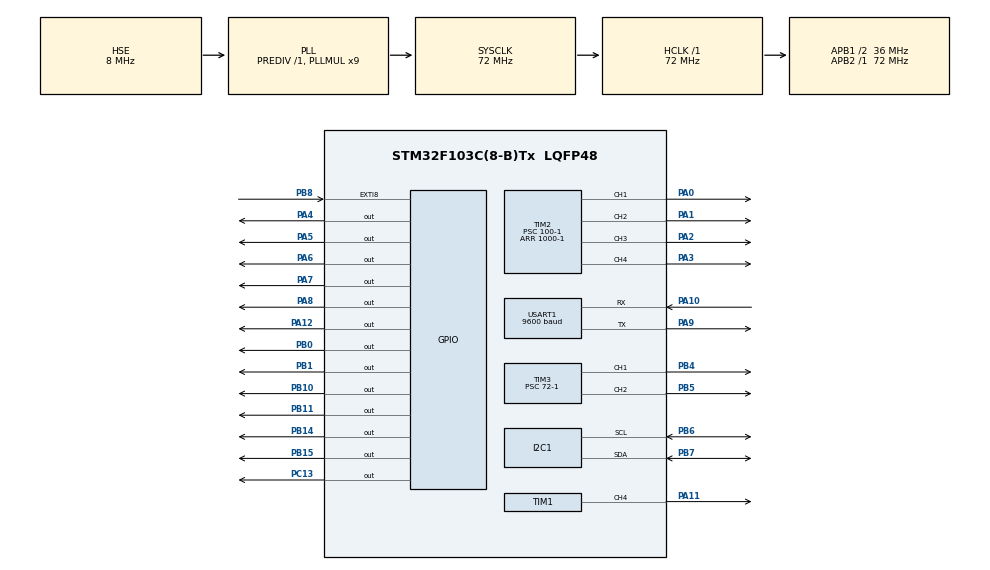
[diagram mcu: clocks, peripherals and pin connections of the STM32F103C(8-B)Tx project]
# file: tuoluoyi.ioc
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Dma.Request0=USART1_RX
Dma.Request1=USART1_TX
Dma.USART1_RX.0.Direction=DMA_PERIPH_TO_MEMORY
Dma.USART1_RX.0.Instance=DMA1_Channel5
Dma.USART1_RX.0.MemDataAlignment=DMA_MDATAALIGN_BYTE
Dma.USART1_RX.0.MemInc=DMA_MINC_ENABLE
Dma.USART1_RX.0.Mode=DMA_CIRCULAR
Dma.USART1_RX.0.PeriphDataAlignment=DMA_PDATAALIGN_BYTE
Dma.USART1_RX.0.PeriphInc=DMA_PINC_DISABLE
Dma.USART1_RX.0.Priority=DMA_PRIORITY_MEDIUM
Dma.USART1_TX.1.Direction=DMA_MEMORY_TO_PERIPH
Dma.USART1_TX.1.Instance=DMA1_Channel4
Dma.USART1_TX.1.MemDataAlignment=DMA_MDATAALIGN_BYTE
Dma.USART1_TX.1.MemInc=DMA_MINC_ENABLE
Dma.USART1_TX.1.Mode=DMA_NORMAL
Dma.USART1_TX.1.PeriphDataAlignment=DMA_PDATAALIGN_BYTE
Dma.USART1_TX.1.PeriphInc=DMA_PINC_DISABLE
Dma.USART1_TX.1.Priority=DMA_PRIORITY_MEDIUM
Mcu.Family=STM32F1
Mcu.Name=STM32F103C(8-B)Tx
Mcu.Package=LQFP48
NVIC.DMA1_Channel4_IRQn=true\:0\:0\:false\:false\:true\:false\:true
NVIC.DMA1_Channel5_IRQn=true\:0\:0\:false\:false\:true\:false\:true
NVIC.I2C1_ER_IRQn=true\:0\:0\:false\:false\:true\:true\:true
NVIC.PriorityGroup=NVIC_PRIORITYGROUP_4
NVIC.TIM2_IRQn=true\:0\:0\:false\:false\:true\:true\:true
NVIC.USART1_IRQn=true\:0\:0\:false\:false\:true\:true\:true
PA0-WKUP.Signal=S_TIM2_CH1_ETR
PA1.Signal=S_TIM2_CH2
PA10.Mode=Asynchronous
PA10.Signal=USART1_RX
PA11.Signal=S_TIM1_CH4
PA12.Signal=GPIO_Output
PA13.Mode=Serial_Wire
PA13.Signal=SYS_JTMS-SWDIO
PA14.Mode=Serial_Wire
PA14.Signal=SYS_JTCK-SWCLK
PA2.Signal=S_TIM2_CH3
PA3.Signal=S_TIM2_CH4
PA4.GPIO_Speed=GPIO_SPEED_FREQ_HIGH
PA4.Signal=GPIO_Output
PA5.GPIO_Speed=GPIO_SPEED_FREQ_HIGH
PA5.Signal=GPIO_Output
PA6.GPIO_Speed=GPIO_SPEED_FREQ_HIGH
PA6.Signal=GPIO_Output
PA7.GPIO_Speed=GPIO_SPEED_FREQ_HIGH
PA7.Signal=GPIO_Output
PA8.GPIO_Speed=GPIO_SPEED_FREQ_HIGH
PA8.Signal=GPIO_Output
PA9.Mode=Asynchronous
PA9.Signal=USART1_TX
PB0.GPIO_Speed=GPIO_SPEED_FREQ_HIGH
PB0.Signal=GPIO_Output
PB1.GPIO_Speed=GPIO_SPEED_FREQ_HIGH
PB1.Signal=GPIO_Output
PB10.GPIO_Speed=GPIO_SPEED_FREQ_HIGH
PB10.Signal=GPIO_Output
PB11.GPIO_Speed=GPIO_SPEED_FREQ_HIGH
PB11.Signal=GPIO_Output
PB14.GPIO_Speed=GPIO_SPEED_FREQ_HIGH
PB14.Signal=GPIO_Output
PB15.GPIO_Speed=GPIO_SPEED_FREQ_HIGH
PB15.Signal=GPIO_Output
PB4.Signal=S_TIM3_CH1
PB5.Signal=S_TIM3_CH2
PB6.Mode=I2C
PB6.Signal=I2C1_SCL
PB7.Mode=I2C
PB7.Signal=I2C1_SDA
PB8.GPIO_ModeDefaultEXTI=GPIO_MODE_IT_RISING_FALLING
PB8.Signal=GPXTI8
PC13-TAMPER-RTC.GPIO_Speed=GPIO_SPEED_FREQ_HIGH
PC13-TAMPER-RTC.Signal=GPIO_Output
PD0-OSC_IN.Mode=HSE-External-Oscillator
PD0-OSC_IN.Signal=RCC_OSC_IN
PD1-OSC_OUT.Mode=HSE-External-Oscillator
PD1-OSC_OUT.Signal=RCC_OSC_OUT
ProjectManager.HeapSize=0x200
ProjectManager.StackSize=0x400
ProjectManager.TargetToolchain=MDK-ARM V5.27
RCC.AHBFreq_Value=72000000
RCC.APB1CLKDivider=RCC_HCLK_DIV2
RCC.APB1Freq_Value=36000000
RCC.APB1TimFreq_Value=72000000
RCC.APB2Freq_Value=72000000
RCC.APB2TimFreq_Value=72000000
RCC.HCLKFreq_Value=72000000
RCC.PLLMUL=RCC_PLL_MUL9
RCC.PLLSourceVirtual=RCC_PLLSOURCE_HSE
RCC.SYSCLKFreq_VALUE=72000000
RCC.SYSCLKSource=RCC_SYSCLKSOURCE_PLLCLK
RCC.USBFreq_Value=72000000
SH.S_TIM1_CH4.0=TIM1_CH4,PWM Generation4 CH4
SH.S_TIM2_CH1_ETR.0=TIM2_CH1,PWM Generation1 CH1
SH.S_TIM2_CH2.0=TIM2_CH2,PWM Generation2 CH2
SH.S_TIM2_CH3.0=TIM2_CH3,PWM Generation3 CH3
SH.S_TIM2_CH4.0=TIM2_CH4,PWM Generation4 CH4
SH.S_TIM3_CH1.0=TIM3_CH1,PWM Generation1 CH1
SH.S_TIM3_CH2.0=TIM3_CH2,PWM Generation2 CH2
TIM1.Channel-PWM\ Generation4\ CH4=TIM_CHANNEL_4
TIM1.Period=1000-1
TIM1.Prescaler=3600-1
TIM2.Channel-PWM\ Generation1\ CH1=TIM_CHANNEL_1
TIM2.Channel-PWM\ Generation2\ CH2=TIM_CHANNEL_2
TIM2.Channel-PWM\ Generation3\ CH3=TIM_CHANNEL_3
TIM2.Channel-PWM\ Generation4\ CH4=TIM_CHANNEL_4
TIM2.Period=1000-1
TIM2.Prescaler=100-1
TIM3.Channel-PWM\ Generation1\ CH1=TIM_CHANNEL_1
TIM3.Channel-PWM\ Generation2\ CH2=TIM_CHANNEL_2
TIM3.Period=20000-1
TIM3.Prescaler=72-1
USART1.BaudRate=9600
USART1.VirtualMode=VM_ASYNC
VP_TIM1_VS_ClockSourceINT.Mode=Internal
VP_TIM2_VS_ClockSourceINT.Mode=Internal
board=custom

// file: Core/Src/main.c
/* USER CODE BEGIN Header */
/**
  ******************************************************************************
  * @file           : main.c
  * @brief          : Main program body
  ******************************************************************************
  * @attention
  *
  * <h2><center>&copy; Copyright (c) 2021 STMicroelectronics.
  * All rights reserved.</center></h2>
  *
  * This software component is licensed by ST under BSD 3-Clause license,
  * the "License"; You may not use this file except in compliance with the
  * License. You may obtain a copy of the License at:
  *                        opensource.org/licenses/BSD-3-Clause
  *
  ******************************************************************************
  */
/* USER CODE END Header */
#include "main.h"
#include "dma.h"
#include "i2c.h"
#include "tim.h"
#include "usart.h"
#include "gpio.h"

/* USER CODE BEGIN Includes */
#include <stdio.h>
#include <string.h>

#include "inv_mpu.h"
#include "inv_mpu_dmp_motion_driver.h"
#include "invensense.h"
#include "invensense_adv.h"
#include "Fun.h"
/* USER CODE END Includes */

/* USER CODE BEGIN PTD */
struct platform_data_s {
    signed char orientation[9];
};

/* USER CODE END PTD */

/* USER CODE BEGIN PD */
#define DEFAULT_MPU_HZ (100)
/* USER CODE END PD */

/* USER CODE BEGIN PV */
unsigned long sensor_timestamp;
short gyro[3], accel_short[3], sensors;
unsigned char more;
long accel[3], quat[4], temperature;
char buffer[256];
float pitch, roll, yaw;
int result;

uint16_t n = 0;
/* USER CODE END PV */

void SystemClock_Config(void);

/* USER CODE BEGIN 0 */
uint8_t rxbuff[1];
/* USER CODE END 0 */

int main(void)
{
  /* USER CODE BEGIN 1 */
    struct int_param_s int_param;
    uint8_t mpu_enable_flag = 0;
  /* USER CODE END 1 */

  /* MCU Configuration--------------------------------------------------------*/

  /* Reset of all peripherals, Initializes the Flash interface and the Systick. */
  HAL_Init();

  /* Configure the system clock */
  SystemClock_Config();

  /* Initialize all configured peripherals */
  MX_GPIO_Init();
  MX_DMA_Init();
  MX_I2C1_Init();
  MX_TIM2_Init();
  MX_USART1_UART_Init();
  MX_TIM3_Init();
  MX_TIM1_Init();
  /* USER CODE BEGIN 2 */
HAL_UART_Receive_DMA(&huart1, rxbuff, 1);
HAL_TIM_PWM_Start(&htim2,TIM_CHANNEL_1);
HAL_TIM_PWM_Start(&htim2,TIM_CHANNEL_2);
HAL_TIM_PWM_Start(&htim2,TIM_CHANNEL_3);
HAL_TIM_PWM_Start(&htim2,TIM_CHANNEL_4);
HAL_TIM_PWM_Start(&htim3,TIM_CHANNEL_1);
HAL_TIM_PWM_Start(&htim1,TIM_CHANNEL_4);
HAL_TIM_PWM_Start(&htim3,TIM_CHANNEL_2);

result = HAL_I2C_IsDeviceReady(&hi2c1, 0xD0, 1, 0xff);

    if (result != HAL_OK) {

    } else {

        /*i2c available*/
        result = mpu_init(&int_param);
        result = mpu_set_sensors(INV_XYZ_GYRO | INV_XYZ_ACCEL);
        result = mpu_configure_fifo(INV_XYZ_GYRO | INV_XYZ_ACCEL);
        result = mpu_set_sample_rate(DEFAULT_MPU_HZ);
        result = dmp_load_motion_driver_firmware();
        static struct platform_data_s gyro_pdata = {
            .orientation = {1, 0, 0, 0, 1, 0, 0, 0, 1}};
        dmp_set_orientation(
            inv_orientation_matrix_to_scalar(gyro_pdata.orientation));
        unsigned short dmp_features =
            DMP_FEATURE_6X_LP_QUAT | DMP_FEATURE_TAP |
            DMP_FEATURE_ANDROID_ORIENT | DMP_FEATURE_SEND_RAW_ACCEL |
            DMP_FEATURE_SEND_CAL_GYRO | DMP_FEATURE_GYRO_CAL;
        dmp_enable_feature(dmp_features);
        dmp_set_fifo_rate(DEFAULT_MPU_HZ);
        result = dmp_set_interrupt_mode(DMP_INT_CONTINUOUS);
        mpu_set_dmp_state(1);
        long _GYRO[3], _ACC[3];

        result = mpu_run_self_test(_GYRO, _ACC);
    }
  /* USER CODE END 2 */

  /* Infinite loop */
  /* USER CODE BEGIN WHILE */
  while (1)
  {
		movef();
		fei();
		pitch1();
		yow1();
		dianji();
		HAL_Delay(10);

    /* USER CODE END WHILE */

  }
}

void SystemClock_Config(void)
{
  RCC_OscInitTypeDef RCC_OscInitStruct = {0};
  RCC_ClkInitTypeDef RCC_ClkInitStruct = {0};

  /** Initializes the RCC Oscillators according to the specified parameters
  * in the RCC_OscInitTypeDef structure.
  */
  RCC_OscInitStruct.OscillatorType = RCC_OSCILLATORTYPE_HSE;
  RCC_OscInitStruct.HSEState = RCC_HSE_ON;
  RCC_OscInitStruct.HSEPredivValue = RCC_HSE_PREDIV_DIV1;
  RCC_OscInitStruct.HSIState = RCC_HSI_ON;
  RCC_OscInitStruct.PLL.PLLState = RCC_PLL_ON;
  RCC_OscInitStruct.PLL.PLLSource = RCC_PLLSOURCE_HSE;
  RCC_OscInitStruct.PLL.PLLMUL = RCC_PLL_MUL9;
  if (HAL_RCC_OscConfig(&RCC_OscInitStruct) != HAL_OK)
  {
    Error_Handler();
  }
  /** Initializes the CPU, AHB and APB buses clocks
  */
  RCC_ClkInitStruct.ClockType = RCC_CLOCKTYPE_HCLK|RCC_CLOCKTYPE_SYSCLK
                              |RCC_CLOCKTYPE_PCLK1|RCC_CLOCKTYPE_PCLK2;
  RCC_ClkInitStruct.SYSCLKSource = RCC_SYSCLKSOURCE_PLLCLK;
  RCC_ClkInitStruct.AHBCLKDivider = RCC_SYSCLK_DIV1;
  RCC_ClkInitStruct.APB1CLKDivider = RCC_HCLK_DIV2;
  RCC_ClkInitStruct.APB2CLKDivider = RCC_HCLK_DIV1;

  if (HAL_RCC_ClockConfig(&RCC_ClkInitStruct, FLASH_LATENCY_2) != HAL_OK)
  {
    Error_Handler();
  }
}

void Error_Handler(void)
{
  __disable_irq();
  while (1)
  {
  }
}

/************************ (C) COPYRIGHT STMicroelectronics *****END OF FILE****/
